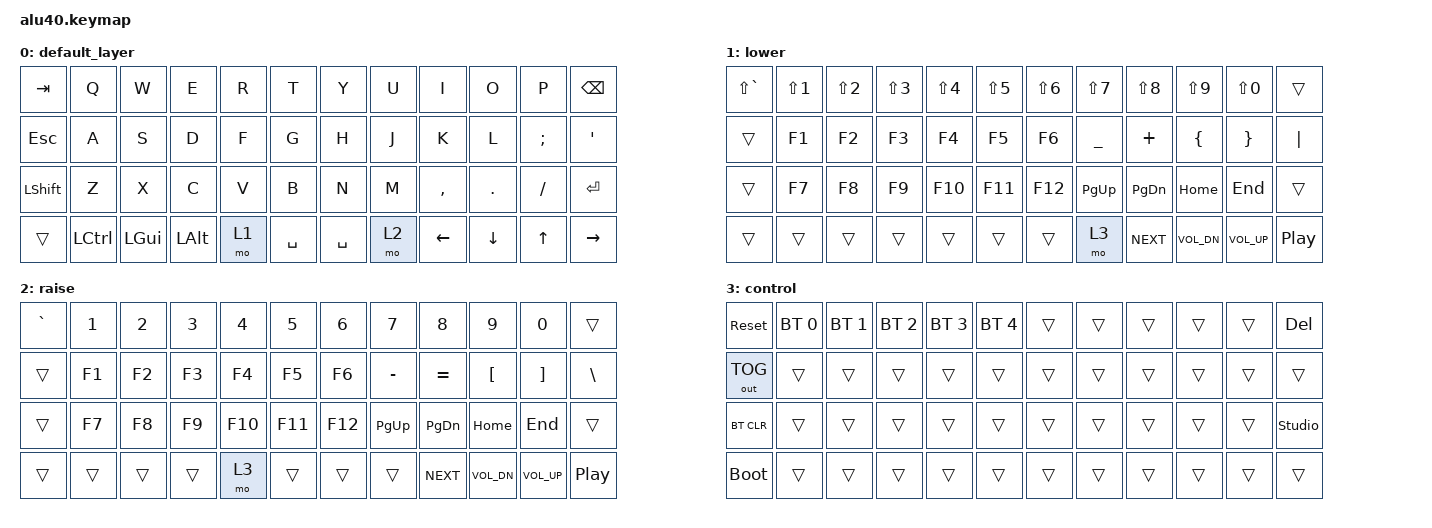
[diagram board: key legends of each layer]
/*
 * Copyright (c) 2022 The ZMK Contributors
 *
 * SPDX-License-Identifier: MIT
 */

#include <behaviors.dtsi>
#include <dt-bindings/zmk/keys.h>
#include <dt-bindings/zmk/bt.h>
#include <dt-bindings/zmk/outputs.h>

/ {
    keymap {
        compatible = "zmk,keymap";

        default_layer {
            // -----------------------------------------------------------------------------------------
            //| TAB      |  Q       |  W      |  E      |  R   | T        | Y        | U    | I        | O      | P       | BSPC     |
            //| ESC      |  A       |  S      |  D      |  F   | G        | H        | J    | K        | L      | ;       | '        |
            //| SHIFT    |  Z       |  X      |  C      |  V   | B        | N        | M    | ,        | .      | /       | RETURN   |
            //| CTRL+B   | LCTL     | LGUI    | LALT    | LOWR |        SPACE        | RAIS | LEFT     | DOWN   | UP      | RIGHT    |

            bindings = <
                &kp TAB    &kp Q      &kp W     &kp E     &kp R  &kp T      &kp Y      &kp U  &kp I      &kp O    &kp P     &kp BSPC
                &kp ESC    &kp A      &kp S     &kp D     &kp F  &kp G      &kp H      &kp J  &kp K      &kp L    &kp SEMI  &kp SQT
                &kp LSHFT  &kp Z      &kp X     &kp C     &kp V  &kp B      &kp N      &kp M  &kp COMMA  &kp DOT  &kp FSLH  &kp RET
                &trans     &kp LCTRL  &kp LGUI  &kp LALT  &mo 1  &kp SPACE  &kp SPACE  &mo 2  &kp LEFT   &kp DOWN &kp UP    &kp RIGHT
            >;
        };

        lower {
            bindings = <
                &kp LS(GRAVE)  &kp LS(N1)  &kp LS(N2)  &kp LS(N3)  &kp LS(N4)  &kp LS(N5)  &kp LS(N6)  &kp LS(N7)    &kp LS(N8)    &kp LS(N9)    &kp LS(N0)    &trans
                &trans         &kp F1      &kp F2      &kp F3      &kp F4      &kp F5      &kp F6      &kp UNDER     &kp PLUS      &kp LBRC      &kp RBRC      &kp PIPE
                &trans         &kp F7      &kp F8      &kp F9      &kp F10     &kp F11     &kp F12     &kp PG_UP     &kp PG_DN     &kp HOME      &kp END       &trans
                &trans         &trans      &trans      &trans      &trans      &trans      &trans      &mo 3         &kp C_NEXT    &kp C_VOL_DN  &kp C_VOL_UP  &kp C_PP
            >;
        };

        raise {
            bindings = <
                &kp GRAVE  &kp N1  &kp N2  &kp N3  &kp N4   &kp N5   &kp N6   &kp N7     &kp N8      &kp N9        &kp N0        &trans
                &trans     &kp F1  &kp F2  &kp F3  &kp F4   &kp F5   &kp F6   &kp MINUS  &kp EQUAL   &kp LBKT      &kp RBKT      &kp BSLH
                &trans     &kp F7  &kp F8  &kp F9  &kp F10  &kp F11  &kp F12  &kp PG_UP  &kp PG_DN   &kp HOME      &kp END       &trans
                &trans     &trans  &trans  &trans  &mo 3    &trans   &trans   &trans     &kp C_NEXT  &kp C_VOL_DN  &kp C_VOL_UP  &kp C_PP
            >;
        };

        control {
            bindings = <
                &sys_reset    &bt BT_SEL 0  &bt BT_SEL 1  &bt BT_SEL 2  &bt BT_SEL 3  &bt BT_SEL 4  &trans  &trans  &trans  &trans  &trans  &kp DEL
                &out OUT_TOG  &trans        &trans        &trans        &trans        &trans        &trans  &trans  &trans  &trans  &trans  &trans
                &bt BT_CLR    &trans        &trans        &trans        &trans        &trans        &trans  &trans  &trans  &trans  &trans  &studio_unlock
                &bootloader   &trans        &trans        &trans        &trans        &trans        &trans  &trans  &trans  &trans  &trans  &trans
            >;
        };
        extra1 {
            status = "reserved";
        };
        extra2 {
            status = "reserved";
        };
        extra3 {
            status = "reserved";
        };
        extra4 {
            status = "reserved";
        };
    };
};
